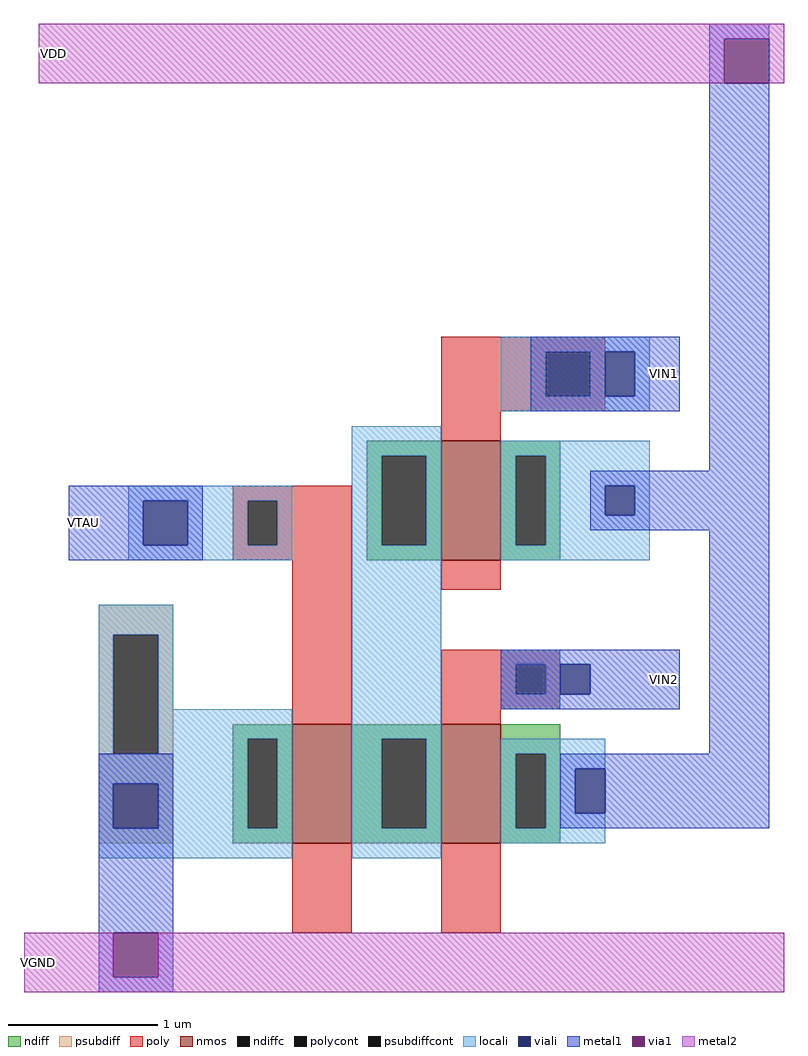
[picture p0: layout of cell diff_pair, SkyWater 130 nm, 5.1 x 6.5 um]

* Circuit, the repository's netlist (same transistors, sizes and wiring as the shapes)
* NGSPICE file created from diff_pair.ext - technology: sky130A

.subckt diff_pair VTAU VGND VDD VIN1 VIN2
X0 a_220_100# VTAU VGND VGND sky130_fd_pr__nfet_01v8 ad=0.24 pd=1.4 as=0.32 ps=2.4 w=0.8 l=0.4
X1 VDD VIN1 a_220_100# VGND sky130_fd_pr__nfet_01v8 ad=0.32 pd=2.4 as=0.4 ps=2.6 w=0.8 l=0.4
X2 VDD VIN2 a_220_100# VGND sky130_fd_pr__nfet_01v8 ad=0.32 pd=2.4 as=0.24 ps=1.4 w=0.8 l=0.4
.ends

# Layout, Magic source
magic
tech sky130A
<< nmos >>
rect 280 290 320 370
rect 180 100 220 180
rect 280 100 320 180
<< ndiff >>
rect 230 360 280 370
rect 230 300 240 360
rect 270 300 280 360
rect 230 290 280 300
rect 320 360 360 370
rect 320 300 330 360
rect 350 300 360 360
rect 320 290 360 300
rect 140 170 180 180
rect 140 110 150 170
rect 170 110 180 170
rect 140 100 180 110
rect 220 170 280 180
rect 220 110 240 170
rect 270 110 280 170
rect 220 100 280 110
rect 320 160 360 180
rect 320 110 330 160
rect 350 110 360 160
rect 320 100 360 110
<< ndiffc >>
rect 240 300 270 360
rect 330 300 350 360
rect 150 110 170 170
rect 240 110 270 170
rect 330 110 350 160
<< psubdiff >>
rect 50 240 100 260
rect 50 160 60 240
rect 90 160 100 240
rect 50 100 100 160
<< psubdiffcont >>
rect 60 160 90 240
<< poly >>
rect 280 430 390 440
rect 280 400 350 430
rect 380 400 390 430
rect 280 390 390 400
rect 280 370 320 390
rect 140 330 220 340
rect 140 300 150 330
rect 170 300 220 330
rect 140 290 220 300
rect 180 180 220 290
rect 280 270 320 290
rect 280 220 360 230
rect 280 200 330 220
rect 350 200 360 220
rect 280 190 360 200
rect 280 180 320 190
rect 180 40 220 100
rect 280 40 320 100
<< polycont >>
rect 350 400 380 430
rect 150 300 170 330
rect 330 200 350 220
<< locali >>
rect 320 430 420 440
rect 320 400 350 430
rect 380 400 390 430
rect 410 400 420 430
rect 320 390 420 400
rect 220 360 280 380
rect 70 330 180 340
rect 70 300 80 330
rect 110 300 150 330
rect 170 300 180 330
rect 70 290 180 300
rect 220 300 240 360
rect 270 300 280 360
rect 50 240 100 260
rect 50 160 60 240
rect 90 190 100 240
rect 90 170 180 190
rect 90 160 150 170
rect 50 140 150 160
rect 50 110 60 140
rect 90 110 150 140
rect 170 110 180 170
rect 50 90 180 110
rect 220 170 280 300
rect 320 360 420 370
rect 320 300 330 360
rect 350 340 420 360
rect 350 320 390 340
rect 410 320 420 340
rect 350 300 420 320
rect 320 290 420 300
rect 320 220 360 230
rect 320 200 330 220
rect 350 200 360 220
rect 320 190 360 200
rect 220 110 240 170
rect 270 110 280 170
rect 220 90 280 110
rect 320 160 390 170
rect 320 110 330 160
rect 350 150 390 160
rect 350 120 370 150
rect 350 110 390 120
rect 320 100 390 110
<< viali >>
rect 390 400 410 430
rect 80 300 110 330
rect 60 110 90 140
rect 390 320 410 340
rect 360 200 380 220
rect 370 120 390 150
<< metal1 >>
rect 460 640 500 650
rect 460 610 470 640
rect 340 430 440 440
rect 340 400 390 430
rect 410 400 440 430
rect 340 390 440 400
rect 460 350 500 610
rect 380 340 500 350
rect 30 330 120 340
rect 30 300 80 330
rect 110 300 120 330
rect 380 320 390 340
rect 410 320 500 340
rect 380 310 500 320
rect 30 290 120 300
rect 320 220 440 230
rect 320 200 360 220
rect 380 200 440 220
rect 320 190 440 200
rect 460 160 500 310
rect 50 140 100 160
rect 50 110 60 140
rect 90 110 100 140
rect 360 150 500 160
rect 360 120 370 150
rect 390 120 500 150
rect 360 110 500 120
rect 50 40 100 110
rect 50 10 60 40
rect 90 10 100 40
rect 50 0 100 10
<< via1 >>
rect 470 610 500 640
rect 60 10 90 40
<< metal2 >>
rect 10 640 510 650
rect 10 610 470 640
rect 500 610 510 640
rect 0 10 60 40
rect 90 10 510 40
rect 0 0 510 10
<< labels >>
rlabel metal1 30 290 50 340 1 VTAU
port 1 n
rlabel metal2 0 0 20 40 1 VGND
port 2 n
rlabel metal2 10 610 30 650 1 VDD
port 3 n
rlabel metal1 420 390 440 440 1 VIN1
port 4 n
rlabel metal1 420 190 440 230 1 VIN2
port 5 n
<< end >>
